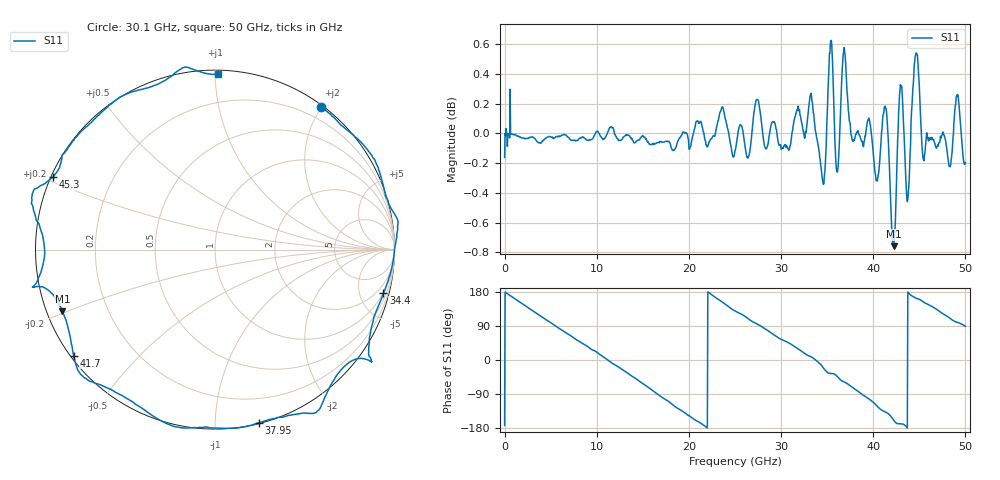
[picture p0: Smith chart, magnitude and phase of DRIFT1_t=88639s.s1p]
!Created with skrf (http://scikit-rf.org).
# Hz S RI R 50.0
!freq ReS11 ImS11
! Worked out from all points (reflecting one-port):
!   1001 points, 300 kHz to 50 GHz, reference 50 ohm
!   lowest |S11| = -0.8 dB at 42.2 GHz (marker M1), VSWR 22.91, Z = 2.26 - j9.69 ohm
!   phase of S11 starts at -173 deg and turns -818 deg over the sweep
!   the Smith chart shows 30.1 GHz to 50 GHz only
!   S11 on the Smith chart (normalised r, x): 30.1 GHz: 0.03, +1.99; 34.4 GHz: 0.95, -7.74; 37.95 GHz: 0.01, -1.28; 41.7 GHz: 0.01, -0.33; 45.3 GHz: 0.01, +0.21; 50 GHz: 0.02, +1.02
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300000  -0.9738 -0.123
1.450291e9  -0.9124 0.4038
3.25028e9  -0.5931 0.8001
6.250262e9  0.1985 0.9787
9.500243e9  0.887 0.4522
1.250022e10  0.9302 -0.3524
1.580021e10  0.2424 -0.9612
1.73502e10  -0.2115 -0.9707
1.875019e10  -0.5991 -0.7922
2.165017e10  -0.9908 -0.1225
2.345016e10  -0.9301 0.4119
2.500015e10  -0.6265 0.7623
2.745014e10  -0.0821 1.023
3.010012e10  0.589 0.7943
3.125011e10  0.7811 0.6279
3.31501e10  1.015 0.172
3.440009e10  0.9388 -0.2431
3.520009e10  0.8656 -0.6014
3.750008e10  0.3772 -0.9341
3.795007e10  0.2439 -0.9644
3.960006e10  -0.2403 -0.9809
4.170005e10  -0.7876 -0.5906
4.220005e10  -0.8497 -0.3431
4.290004e10  -1.012 -0.2085
4.375004e10  -0.9505 0.0122
4.530003e10  -0.9016 0.4055
4.765001e10  -0.5141 0.8564
5e10  0.0194 0.9773
